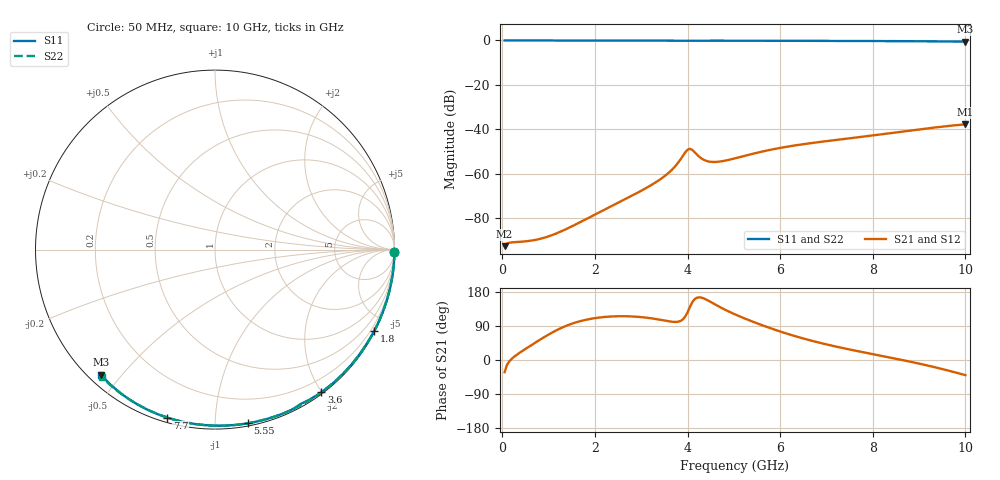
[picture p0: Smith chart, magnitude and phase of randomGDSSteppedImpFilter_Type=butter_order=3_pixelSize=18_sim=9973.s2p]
! freq	dB(S11)	phase(S11)	dB(S12)	phase(S12)
!  dB(S21)	phase(S21)	dB(S22)	phase(S22)
!S-par simulation data
#  GHz  S  DB  R 50
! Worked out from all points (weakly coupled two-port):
!   200 points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, 50 MHz to 10 GHz, reference 50 ohm
!   highest |S21| = -37.77 dB at 10 GHz (marker M1); lowest = -92.6 dB at 50 MHz (marker M2)
!   lowest |S11| = -0.5 dB at 10 GHz (marker M3), VSWR 34.12, Z = 1.75 - j22.1 ohm
!   |S11| at or under -10 dB: nowhere
!   |S22| runs from -0.4 to 0.0 dB; largest |S21 - S12| = 0
!   S11 on the Smith chart (normalised r, x): 50 MHz: open; 1.8 GHz: 0.04, -4.13; 3.6 GHz: 0.02, -1.99; 5.55 GHz: 0.02, -1.21; 7.7 GHz: 0.02, -0.76; 10 GHz: 0.04, -0.44
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0.05  -0.00 -0.8  -92.59 -32.2  -92.59 -32.2  -0.00 -0.8
0.9  -0.01 -13.7  -88.83 60.0  -88.83 60.0  -0.02 -13.6
1.75  -0.03 -26.5  -81.07 104.6  -81.07 104.6  -0.03 -26.2
1.8  -0.04 -27.2  -80.53 106.0  -80.53 106.0  -0.03 -27.0
1.85  -0.04 -28.0  -80.00 107.3  -80.00 107.3  -0.04 -27.7
2.75  -0.05 -41.3  -70.43 115.2  -70.43 115.2  -0.05 -40.7
3.4  -0.07 -50.5  -62.68 106.4  -62.68 106.4  -0.07 -49.9
3.6  -0.08 -53.2  -59.43 102.1  -59.43 102.1  -0.07 -52.7
3.75  -0.09 -55.3  -56.25 100.4  -56.25 100.4  -0.07 -54.8
4  -0.12 -58.7  -49.20 125.8  -49.20 125.8  -0.08 -58.2
4.05  -0.13 -59.4  -48.77 139.4  -48.77 139.4  -0.08 -58.9
4.1  -0.14 -60.0  -49.22 151.8  -49.22 151.8  -0.08 -59.6
4.3  -0.12 -62.4  -53.10 164.6  -53.10 164.6  -0.09 -62.3
4.45  -0.10 -64.5  -54.45 156.6  -54.45 156.6  -0.09 -64.3
4.65  -0.10 -67.3  -54.63 142.9  -54.63 142.9  -0.10 -67.0
5.05  -0.11 -72.7  -52.92 119.1  -52.92 119.1  -0.11 -72.3
5.55  -0.13 -79.2  -50.31 94.5  -50.31 94.5  -0.13 -78.7
6.05  -0.15 -85.6  -48.17 73.2  -48.17 73.2  -0.15 -85.0
6.7  -0.18 -93.7  -46.12 50.2  -46.12 50.2  -0.18 -93.1
7.7  -0.24 -105.9  -43.53 22.7  -43.53 22.7  -0.24 -105.1
8.35  -0.29 -113.5  -41.82 7.0  -41.82 7.0  -0.29 -112.7
10  -0.51 -132.4  -37.77 -40.0  -37.77 -40.0  -0.44 -131.5
